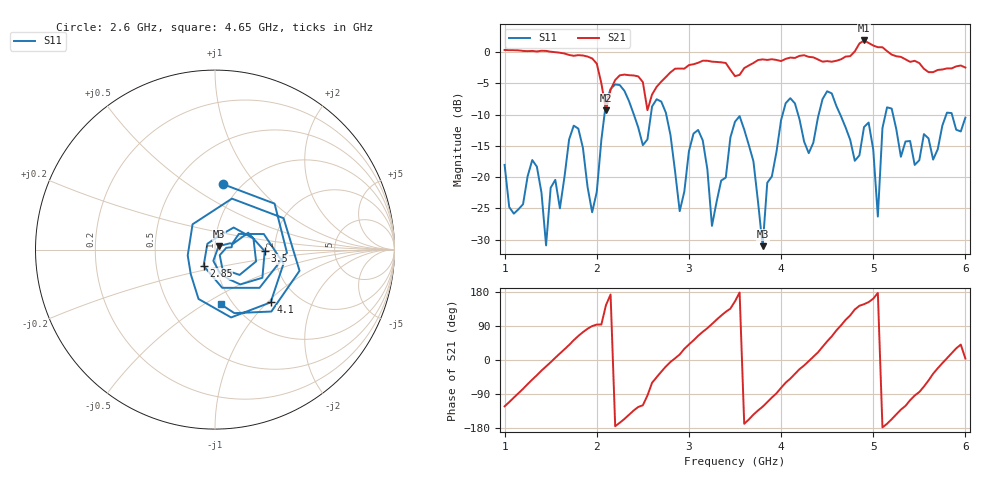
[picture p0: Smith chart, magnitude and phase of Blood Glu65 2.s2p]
! NanoVNA-App
! Date: 2024-03-20 21:21:06
! Start: 1GHz Stop: 6GHz Points: 101
! S-Parameter data: F S11 S21 S12 S22
# Hz S RI R 50
!	Frequency	S11_Real	S11_Imag	S21_Real	S21_Imag	S12_Real	S12_Imag	S22_Real	S22_Imag
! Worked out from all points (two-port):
!   101 points, 1 GHz to 6 GHz, reference 50 ohm
!   highest |S21| = 1.84 dB at 4.9 GHz (marker M1); lowest = -9.3 dB at 2.1 GHz (marker M2)
!   |S21| within 3 dB of the highest: start of sweep to 1.958 GHz; 4.652 GHz to 5.348 GHz (696.3 MHz wide, 13.9 % of centre)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
!   lowest |S11| = -31.0 dB at 3.8 GHz (marker M3), VSWR 1.06, Z = 52 + j2.02 ohm
!   |S11| at or under -10 dB: start of sweep to 2.084 GHz; 2.754 GHz to 4.016 GHz (1.262 GHz wide, 37.3 % of centre); 5.215 GHz to 5.793 GHz (578.1 MHz wide, 10.5 % of centre)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
!   S12 and S22 are empty: the file has one direction only
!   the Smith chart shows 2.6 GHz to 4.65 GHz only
!   S11 on the Smith chart (normalised r, x): 2.6 GHz: 0.83, +0.70; 2.85 GHz: 0.87, -0.16; 3.5 GHz: 1.77, -0.03; 4.1 GHz: 1.45, -1.05; 4.65 GHz: 0.88, -0.59
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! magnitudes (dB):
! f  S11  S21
! 1 GHz  -18.0  0.3
! 1.35 GHz  -18.3  0.1
! 1.45 GHz  -30.9  0.2
! 1.85 GHz  -15.3  -0.6
! 1.95 GHz  -25.6  -1.0
! 2.1 GHz  -8.1  -9.3
! 2.6 GHz  -8.7  -6.8
! 2.7 GHz  -7.9  -4.7
! 2.85 GHz  -19.1  -2.7
! 3.1 GHz  -12.5  -1.7
! 3.25 GHz  -27.8  -1.5
! 3.5 GHz  -11.1  -3.9
! 3.8 GHz  -31.0  -1.2
! 4.1 GHz  -7.4  -0.9
! 4.35 GHz  -14.5  -0.9
! 4.65 GHz  -10.3  -1.2
! 4.9 GHz  -12.0  1.8
! 5.05 GHz  -26.3  0.8
! 5.1 GHz  -12.2  0.8
! 5.2 GHz  -9.0  -0.4
! 5.45 GHz  -18.1  -1.4
! 6 GHz  -10.5  -2.5
